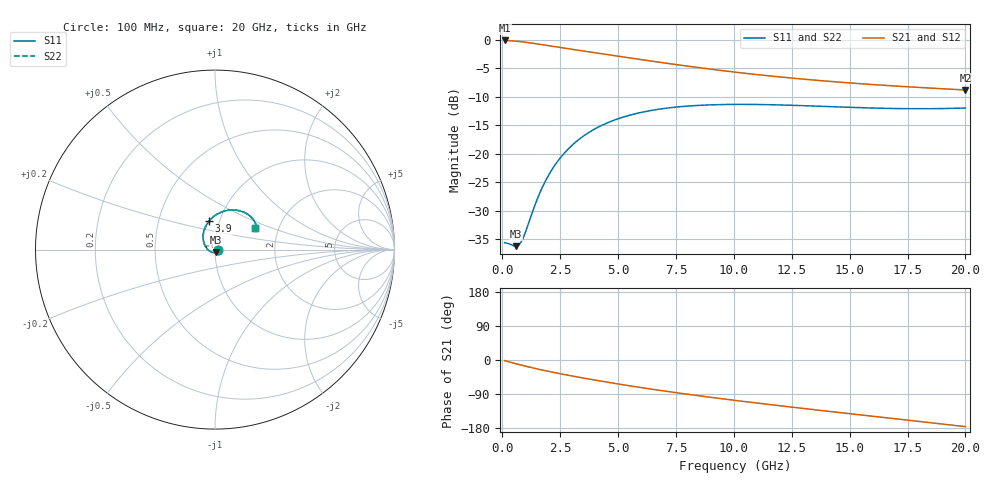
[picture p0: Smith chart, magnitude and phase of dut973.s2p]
! Touchstone file exported from HFSS 2024.1.0
!  File:  C:/UserFiles/LocalFiles/RDL_TSV_Batchsim/temp_RDL_TSV_973_1779971807.aedt
!  Generated:  08:49:17 PM May 28, 2026
!  Design:  RDL_TSV
!  Project:  temp_RDL_TSV_973_1779971807
!  Setup:  Setup1
!  Solution:  Sweep
! Variables:
!  dtsv = 11.83um
!  hbump = 3um
!  htsv = 87.55um
!  ldown = 590.75um
!  lrdl = 106.67um
!  p = 40
!  p1 = 49.2um
!  rhole = 10um
!  subl = 2198.93um
!  t = 450um
!  tdown = 2.42um
!  trdl = 2.86um
!  viad = 10um
!  wdown = 18.61um
!  wrdl = 23.06um
!  xbump = 18um
# GHz S MA R 50.000000
! Terminal data exported
! Port[1] = TM1_1_T1
! Port[2] = TM1_4_T1
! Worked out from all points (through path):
!   200 points, 100 MHz to 20 GHz, reference 50 ohm
!   highest |S21| = -0.15 dB at 100 MHz (marker M1); lowest = -8.8 dB at 20 GHz (marker M2)
!   group delay of S21, straight-line fit = 22.8 ps
!   lowest |S11| = -36.2 dB at 600 MHz (marker M3), VSWR 1.03, Z = 50.5 - j1.48 ohm
!   |S11| at or under -10 dB: start of sweep to end of sweep
!   |S22| runs from -36.2 to -11.3 dB; largest |S21 - S12| = 7.8e-15
!   S11 on the Smith chart (normalised r, x): 100 MHz: 1.03, -0.01; 3.9 GHz: 0.89, +0.29; 20 GHz: 1.52, +0.38
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0.1  0.01665 -9.2  0.9828 -1.7  0.9828 -1.7  0.01665 -9.2
! Gamma 0 0 0 0
! Port Impedance 50 0 50 0
0.6  0.01554 -70.0  0.9685 -10.0  0.9685 -10.0  0.01553 -70.1
0.8  0.01673 -102.3  0.9591 -13.2  0.9591 -13.2  0.01673 -102.4
0.9  0.01832 -117.9  0.9539 -14.7  0.9539 -14.7  0.01832 -118.0
1.4  0.03513 -172.5  0.9239 -22.1  0.9239 -22.1  0.03519 -172.5
1.6  0.04445 174.1  0.911 -24.8  0.911 -24.8  0.04452 174.1
1.8  0.0545 163.3  0.898 -27.5  0.898 -27.5  0.0546 163.3
2.1  0.07034 150.0  0.8785 -31.3  0.8785 -31.3  0.07047 150.0
2.4  0.08651 139.1  0.8595 -35.0  0.8595 -35.0  0.08668 139.2
2.7  0.1026 129.9  0.841 -38.6  0.841 -38.6  0.1028 129.9
3.1  0.1233 119.3  0.8172 -43.2  0.8172 -43.2  0.1236 119.3
3.5  0.1429 110.2  0.7944 -47.6  0.7944 -47.6  0.1432 110.2
3.9  0.161 102.2  0.7725 -51.9  0.7725 -51.9  0.1614 102.3
4.5  0.1853 91.8  0.7408 -58.2  0.7408 -58.2  0.1857 91.9
5.2  0.209 81.6  0.7057 -65.2  0.7057 -65.2  0.2096 81.6
6.8  0.2464 63.3  0.6329 -80.1  0.6329 -80.1  0.247 63.4
8.4  0.2649 50.2  0.5711 -93.7  0.5711 -93.7  0.2657 50.3
10.1  0.2709 40.2  0.5175 -106.9  0.5175 -106.9  0.2717 40.2
11.7  0.2687 33.6  0.4772 -118.7  0.4772 -118.7  0.2696 33.6
13.4  0.2623 29.0  0.4431 -130.7  0.4431 -130.7  0.2632 29.1
16.7  0.2497 26.0  0.3953 -153.3  0.3953 -153.3  0.2505 26.1
20  0.252 27.8  0.3622 -175.8  0.3622 -175.8  0.2528 27.9
